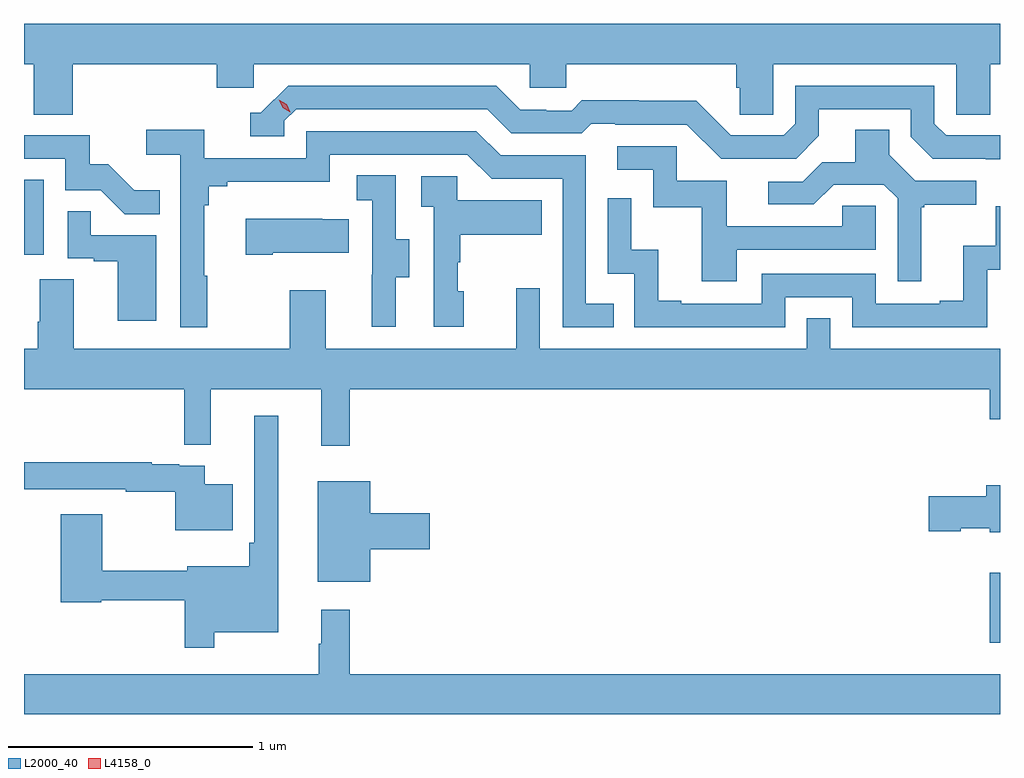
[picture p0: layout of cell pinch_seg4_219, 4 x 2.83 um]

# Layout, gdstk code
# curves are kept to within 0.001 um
import gdstk
lib = gdstk.Library(unit=1e-6, precision=1e-09)
def R(c, l, rs):  # rectangles x0, y0, x1, y1
    for r in rs: c.add(gdstk.rectangle(r[:2], r[2:], *l))
def P(c, l, *ps):  # polygons
    for p in ps: c.add(gdstk.Polygon(p, *l))
L2000_40 = (2000, 40)
L4158_0 = (4158, 0)

pinch_seg4_219 = lib.new_cell('pinch_seg4_219')
R(pinch_seg4_219, L2000_40, [(997.643,826.416,997.685,826.702), (993.685,828.006,993.766,828.313)])
P(pinch_seg4_219, L2000_40, [(993.884,828.788),(994.475,828.788),(994.475,828.69),(994.626,828.69),(994.626,828.788),(995.757,828.788),(995.757,828.69),(995.907,828.69),(995.907,828.788),(996.605,828.788),(996.605,828.69),(996.619,828.69),(996.619,828.58),(996.756,828.58),(996.756,828.788),(997.506,828.788),(997.506,828.58),(997.645,828.58),(997.645,828.788),(997.685,828.788),(997.685,828.952),(993.685,828.952),(993.685,828.788),(993.724,828.788),(993.724,828.58),(993.884,828.58)],
  [(997.685,828.495),(997.464,828.495),(997.416,828.543),(997.416,828.699),(996.846,828.699),(996.846,828.543),(996.798,828.495),(996.582,828.495),(996.44,828.637),(996.204,828.637),(996.204,828.64),(995.971,828.64),(995.929,828.597),(995.826,828.597),(995.826,828.6),(995.719,828.6),(995.62,828.699),(994.767,828.699),(994.656,828.588),(994.613,828.588),(994.613,828.492),(994.752,828.492),(994.752,828.555),(994.8,828.603),(995.583,828.603),(995.682,828.504),(995.971,828.504),(996.01,828.543),(996.109,828.543),(996.109,828.54),(996.402,828.54),(996.543,828.399),(996.849,828.399),(996.943,828.493),(996.943,828.603),(997.32,828.603),(997.32,828.489),(997.41,828.399),(997.685,828.398)],
  [(994.435,827.921),(994.423,827.921),(994.423,828.209),(994.442,828.209),(994.442,828.286),(994.519,828.286),(994.519,828.305),(994.938,828.305),(994.938,828.417),(995.502,828.417),(995.601,828.318),(995.892,828.318),(995.892,827.709),(996.101,827.709),(996.101,827.805),(995.988,827.805),(995.988,828.414),(995.638,828.414),(995.539,828.513),(994.842,828.513),(994.842,828.402),(994.424,828.402),(994.424,828.518),(994.185,828.518),(994.185,828.416),(994.326,828.416),(994.326,827.709),(994.435,827.709)],
  [(997.363,828.201),(997.375,828.201),(997.375,828.212),(997.588,828.212),(997.588,828.309),(997.338,828.309),(997.231,828.416),(997.231,828.518),(997.091,828.518),(997.091,828.386),(996.956,828.386),(996.876,828.306),(996.735,828.306),(996.735,828.213),(996.922,828.213),(997.003,828.294),(997.209,828.294),(997.266,828.237),(997.266,827.898),(997.363,827.898)],
  [(994.241,828.271),(994.137,828.271),(994.03,828.378),(993.954,828.378),(993.954,828.495),(993.685,828.495),(993.685,828.399),(993.855,828.399),(993.855,828.27),(993.999,828.27),(994.097,828.172),(994.241,828.172)],
  [(996.607,828.027),(997.176,828.027),(997.176,828.207),(997.039,828.207),(997.039,828.123),(996.565,828.123),(996.565,828.309),(996.36,828.309),(996.36,828.45),(996.117,828.45),(996.117,828.354),(996.264,828.354),(996.264,828.201),(996.463,828.201),(996.463,827.898),(996.607,827.898)],
  [(995.209,827.914),(995.263,827.914),(995.263,828.069),(995.208,828.069),(995.208,828.332),(995.049,828.332),(995.049,828.229),(995.112,828.229),(995.112,827.925),(995.111,827.925),(995.111,827.712),(995.209,827.712)],
  [(995.488,827.856),(995.463,827.856),(995.463,827.975),(995.473,827.975),(995.473,828.089),(995.807,828.089),(995.807,828.229),(995.46,828.229),(995.46,828.327),(995.313,828.327),(995.313,828.203),(995.364,828.203),(995.364,827.712),(995.488,827.712)],
  [(996.804,827.832),(997.08,827.832),(997.08,827.709),(997.632,827.709),(997.632,827.945),(997.685,827.945),(997.685,828.204),(997.668,828.204),(997.668,828.043),(997.535,828.043),(997.535,827.818),(997.439,827.818),(997.439,827.805),(997.176,827.805),(997.176,827.928),(996.708,827.928),(996.708,827.805),(996.379,827.805),(996.379,827.818),(996.284,827.818),(996.284,828.026),(996.174,828.026),(996.174,828.238),(996.078,828.238),(996.078,827.928),(996.186,827.928),(996.186,827.709),(996.804,827.709)],
  [(994.228,828.087),(993.959,828.087),(993.959,828.185),(993.864,828.185),(993.864,827.991),(993.971,827.991),(993.971,827.979),(994.07,827.979),(994.07,827.736),(994.228,827.736)],
  [(994.705,828.014),(995.015,828.014),(995.015,828.151),(994.907,828.151),(994.907,828.154),(994.593,828.154),(994.593,828.007),(994.705,828.007)],
  [(995.021,827.456),(997.643,827.456),(997.643,827.332),(997.685,827.332),(997.685,827.62),(996.99,827.62),(996.99,827.747),(996.894,827.747),(996.894,827.62),(995.799,827.62),(995.799,827.869),(995.702,827.869),(995.702,827.62),(994.921,827.62),(994.921,827.86),(994.774,827.86),(994.774,827.62),(993.889,827.62),(993.889,827.906),(993.749,827.906),(993.749,827.732),(993.742,827.732),(993.742,827.62),(993.685,827.62),(993.685,827.456),(994.342,827.456),(994.342,827.227),(994.451,827.227),(994.451,827.456),(994.904,827.456),(994.904,827.223),(995.021,827.223)],
  [(994.465,826.46),(994.726,826.46),(994.726,827.347),(994.629,827.347),(994.629,826.825),(994.609,826.825),(994.609,826.729),(994.355,826.729),(994.355,826.711),(994.006,826.711),(994.006,826.942),(993.836,826.942),(993.836,826.582),(994.002,826.582),(994.002,826.59),(994.344,826.59),(994.344,826.395),(994.465,826.395)],
  [(994.54,827.065),(994.426,827.065),(994.426,827.142),(994.322,827.142),(994.322,827.148),(994.208,827.148),(994.208,827.155),(993.685,827.155),(993.685,827.046),(994.102,827.046),(994.102,827.034),(994.304,827.034),(994.304,826.877),(994.54,826.877)],
  [(995.104,826.799),(995.347,826.799),(995.347,826.946),(995.104,826.946),(995.104,827.077),(994.889,827.077),(994.889,826.667),(995.104,826.667)],
  [(997.685,827.062),(997.628,827.062),(997.628,827.016),(997.392,827.016),(997.392,826.874),(997.524,826.874),(997.524,826.886),(997.644,826.886),(997.644,826.868),(997.685,826.868)],
  [(997.685,826.288),(995.021,826.288),(995.021,826.552),(994.904,826.552),(994.904,826.412),(994.893,826.412),(994.893,826.288),(993.685,826.288),(993.685,826.124),(997.685,826.124)])
P(pinch_seg4_219, L4158_0, [(994.777,828.59),(994.746,828.609),(994.73,828.642),(994.73,828.642),(994.73,828.642),(994.761,828.623),(994.777,828.59),(994.777,828.59)])

lib.write_gds('pinch_seg4_219.gds')
